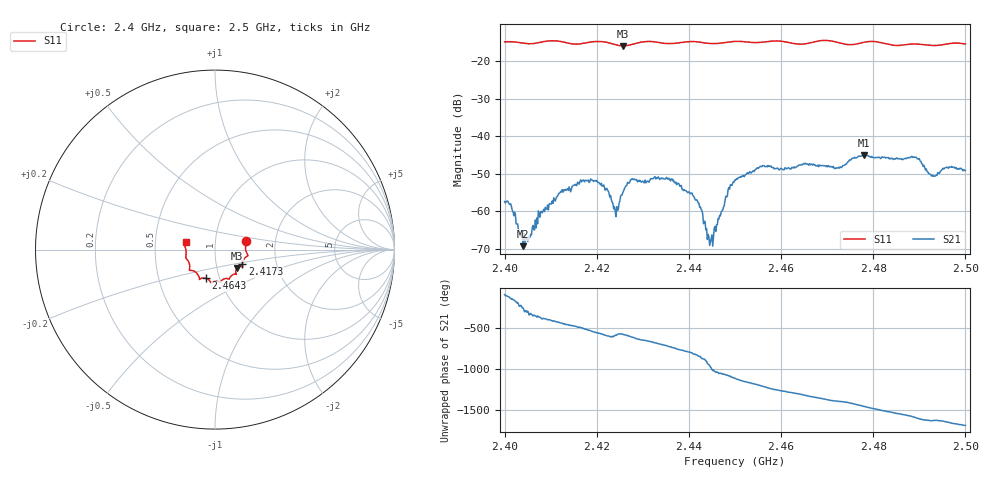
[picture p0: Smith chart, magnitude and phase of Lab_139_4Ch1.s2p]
# Hz S RI R 50
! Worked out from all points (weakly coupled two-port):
!   601 points, 2.4 GHz to 2.5 GHz, reference 50 ohm
!   highest |S21| = -44.99 dB at 2.478 GHz (marker M1); lowest = -69.2 dB at 2.404 GHz (marker M2)
!   lowest |S11| = -15.9 dB at 2.4257 GHz (marker M3), VSWR 1.38, Z = 62.4 - j13.1 ohm
!   |S11| at or under -10 dB: start of sweep to end of sweep
!   S12 and S22 are empty: the file has one direction only
!   S11 on the Smith chart (normalised r, x): 2.4 GHz: 1.41, +0.15; 2.4173 GHz: 1.34, -0.23; 2.4643 GHz: 0.86, -0.28; 2.5 GHz: 0.72, +0.06
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2.4e9  0.1733 0.0498  0.000103 -0.00135  0 0  0 0
2.404e9  0.1717 0.0251  -0.000123 0.000323  0 0  0 0
2.412e9  0.1797 -0.0361  0.000529 -0.00168  0 0  0 0
2.416667e9  0.153 -0.0749  -0.00171 -0.00179  0 0  0 0
2.417333e9  0.1525 -0.0823  -0.0021 -0.00132  0 0  0 0
2.421833e9  0.1523 -0.0946  -0.00138 0.00133  0 0  0 0
2.424167e9  0.1346 -0.0946  -0.000605 0.000601  0 0  0 0
2.425667e9  0.1224 -0.1023  -0.00149 0.000996  0 0  0 0
2.427667e9  0.1153 -0.1206  -0.00101 0.00254  0 0  0 0
2.433333e9  0.1127 -0.1366  0.00247 0.0015  0 0  0 0
2.440667e9  0.0786 -0.1644  0.000286 -0.00174  0 0  0 0
2.444833e9  0.0566 -0.1615  -3e-05 0.000437  0 0  0 0
2.45e9  0.0297 -0.1807  0.00222 -0.00142  0 0  0 0
2.455833e9  -0.00535 -0.1783  -0.00245 -0.00312  0 0  0 0
2.464333e9  -0.0501 -0.1602  -0.00271 0.00318  0 0  0 0
2.466667e9  -0.076 -0.1599  -0.000864 0.00417  0 0  0 0
2.472167e9  -0.088 -0.1549  0.00265 0.00275  0 0  0 0
2.478e9  -0.1353 -0.1161  0.00535 -0.00175  0 0  0 0
2.483333e9  -0.1409 -0.0894  0.000685 -0.00517  0 0  0 0
2.4895e9  -0.1625 -0.0437  -0.00479 -0.00164  0 0  0 0
2.493e9  -0.1606 -0.0138  -0.00289 0.000567  0 0  0 0
2.5e9  -0.1637 0.0423  -0.00116 0.00331  0 0  0 0
